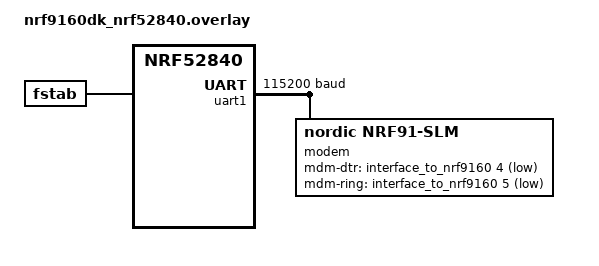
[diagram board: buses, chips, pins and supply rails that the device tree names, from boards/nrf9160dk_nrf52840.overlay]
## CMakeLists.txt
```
# Copyright (c) 2026 Golioth, Inc.
#
# SPDX-License-Identifier: Apache-2.0

cmake_minimum_required(VERSION 3.20.0)

find_package(Zephyr REQUIRED HINTS $ENV{ZEPHYR_BASE})
project(coap_transport)

target_sources(app PRIVATE
  src/main.c
  src/credentials.c
  src/net.c
)

if(CONFIG_EXAMPLE_FW_UPDATE_SHA256_VERIFY)
    target_sources(app PRIVATE src/fw_update_test.c)
elseif(CONFIG_EXAMPLE_FW_UPDATE_FLASH)
    target_sources(app PRIVATE src/fw_update.c)
endif()

if(CONFIG_MODEM)
    target_sources(app PRIVATE src/modem.c)
endif()

if(CONFIG_WIFI)
    target_sources(app PRIVATE src/wifi.c)
endif()

if(NOT CONFIG_EXAMPLE_COAP_CLIENT_DTLS_LOAD_CA_FROM_FILESYSTEM)
    generate_inc_file_for_target(app
        ${CMAKE_CURRENT_SOURCE_DIR}/src/isrgrootx1.der
        ${ZEPHYR_BINARY_DIR}/include/generated/pouch-ca-crt.inc)
endif()
```

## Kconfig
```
# Copyright (c) 2026 Golioth, Inc.
#
# SPDX-License-Identifier: Apache-2.0

source "$ZEPHYR_BASE/Kconfig"

menu "Example: Pouch CoAP Client"

config EXAMPLE_COAP_CLIENT_LOG_LEVEL
    int "CoAP client example log level"
    default 4

config EXAMPLE_COAP_CLIENT_SYNC_PERIOD_S
    int "CoAP client example sync period (s)"
    default 30

config EXAMPLE_CREDENTIALS_DIR
    string "Directory containing credentials"
    default "/lfs1/credentials"
    help
      Directory on mounted file system containing credentials.

config EXAMPLE_COAP_CLIENT_DTLS_CREDENTIALS
    int "Sec Tag to use when storing DTLS credentials"
    default 515765868

config EXAMPLE_COAP_CLIENT_DTLS_LOAD_CA_FROM_FILESYSTEM
    bool "Load the server CA cert from filesystem"
    default n
    help
      Optionally load the CA certificate used for DTLS/mTLS from
      EXAMPLE_CREDENTIALS_DIR/ca.der. If this symbol is not selected,
      ISRG Root X1 is used.

config EXAMPLE_COAP_CLIENT_GW_DEVICE_CRT_FILENAME
    string "Gateway device crt filename in filesystem"
    default "crt.der"
    help
      The filename used to store the mTLS device certificate in the filesystem.
      By default this is the same as the filename used for the Pouch device
      certificate, but may be changed if different credentials are desired.

config EXAMPLE_COAP_CLIENT_GW_DEVICE_KEY_FILENAME
    string "Gateway device key filename in filesystem"
    default "key.der"
    help
      The filename used to store the mTLS device private key in the filesystem.
      By default this is the same as the filename used for the Pouch device key,
      but may be changed if different credentials are desired.

config EXAMPLE_FW_UPDATE_COMPONENT
    string "OTA component to use for firmware update"
    default "coap_client_example"
    help
      Name of component in OTA manifest to use for firmware update.

choice EXAMPLE_FW_UPDATE_MODE
    prompt "Firmware update mode"
    depends on GOLIOTH_OTA
    default EXAMPLE_FW_UPDATE_FLASH

config EXAMPLE_FW_UPDATE_FLASH
    bool "Normal (write to flash)"
    help
        OTA component data is written to flash and mcuboot upgrade is requested.

config EXAMPLE_FW_UPDATE_SHA256_VERIFY
    bool "Download only and verify SHA256"
    help
        OTA component data is hashed with SHA256 instead of written
        to flash. The resulting hash is logged to the console for verification.

endchoice
endmenu # Example: Pouch CoAP Client
```

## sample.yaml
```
sample:
  name: Pouch CoAP Client
common:
  harness: pytest
  timeout: 300
tests:
  pouch.coap_client.sample:
    harness_config:
      pytest_dut_scope: module
      pytest_root:
        - pytest/test_sample.py
      pytest_args:
        - --ota-mode=dummy
    platform_allow:
      - native_sim
      - native_sim/native/64
    extra_configs:
      - CONFIG_FILE_SYSTEM_NSIM_MOUNT=y
      - 'CONFIG_NATIVE_EXTRA_CMDLINE_ARGS="-volume=./creds:/creds"'
      - 'CONFIG_EXAMPLE_CREDENTIALS_DIR="/creds"'
      - CONFIG_EXAMPLE_COAP_CLIENT_SYNC_PERIOD_S=2
      - CONFIG_EXAMPLE_FW_UPDATE_SHA256_VERIFY=y
      - CONFIG_GOLIOTH_OTA_MAX_VERSION_LEN=64
      - 'CONFIG_EXAMPLE_FW_UPDATE_COMPONENT="ci_ota_fw"'
```

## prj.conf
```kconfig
# General config
CONFIG_MAIN_STACK_SIZE=8192
CONFIG_SYSTEM_WORKQUEUE_STACK_SIZE=2048
CONFIG_MAIN_THREAD_PRIORITY=10

# Networking config
CONFIG_NETWORKING=y
CONFIG_NET_IPV4=y
CONFIG_NET_IPV6=n
CONFIG_NET_UDP=y
CONFIG_NET_SHELL=y
CONFIG_DNS_RESOLVER=y
CONFIG_NET_SOCKETS_CONNECT_TIMEOUT=6000
CONFIG_NET_SOCKETS_SOCKOPT_TLS=y
CONFIG_NET_SOCKETS_ENABLE_DTLS=y

# Sockets
CONFIG_NET_SOCKETS=y
CONFIG_ZVFS_POLL_MAX=4
CONFIG_POSIX_API=y

# Network driver config
CONFIG_TEST_RANDOM_GENERATOR=y

# Network buffers
CONFIG_NET_PKT_RX_COUNT=16
CONFIG_NET_PKT_TX_COUNT=8
CONFIG_NET_BUF_DATA_SIZE=512
CONFIG_NET_BUF_RX_COUNT=24
CONFIG_NET_BUF_TX_COUNT=16
CONFIG_NET_CONTEXT_NET_PKT_POOL=y
CONFIG_NET_SOCKETS_TLS_MAX_CONTEXTS=4
CONFIG_NET_SOCKETS_TLS_MAX_CREDENTIALS=4
CONFIG_NET_SOCKETS_TLS_MAX_CLIENT_SESSION_COUNT=2

# Network address config
CONFIG_NET_CONFIG_SETTINGS=y
CONFIG_NET_CONFIG_NEED_IPV4=y
CONFIG_NET_CONFIG_NEED_IPV6=n

# Enable the LittleFS file system
CONFIG_FILE_SYSTEM=y
CONFIG_FILE_SYSTEM_LITTLEFS=y
CONFIG_FILE_SYSTEM_SHELL=y

# Enable flash operations (also required by IMG_MANAGER below)
CONFIG_FLASH=y
CONFIG_FLASH_MAP=y
CONFIG_STREAM_FLASH=y
CONFIG_IMG_MANAGER=y
CONFIG_IMG_ERASE_PROGRESSIVELY=y

# Network debug config
CONFIG_LOG=y
CONFIG_NET_LOG=y
CONFIG_NET_SOCKETS_LOG_LEVEL_DBG=n

# TLS/DTLS configuration
CONFIG_MBEDTLS=y
CONFIG_MBEDTLS_BUILTIN=y
CONFIG_MBEDTLS_ENABLE_HEAP=y
CONFIG_MBEDTLS_HEAP_SIZE=70000
CONFIG_MBEDTLS_SSL_MAX_CONTENT_LEN=4096
CONFIG_MBEDTLS_SSL_PROTO_TLS1_2=y
CONFIG_MBEDTLS_X509_CRT_PARSE_C=y
CONFIG_MBEDTLS_KEY_EXCHANGE_ECDHE_ECDSA_ENABLED=y

# TLS for Golioth (via PSA Crypto)
CONFIG_PSA_WANT_ALG_ECDH=y
CONFIG_PSA_WANT_ALG_ECDSA=y
CONFIG_PSA_WANT_ALG_GCM=y
CONFIG_PSA_WANT_ALG_RSA_PKCS1V15_SIGN=y
CONFIG_PSA_WANT_ALG_SHA_256=y
CONFIG_PSA_WANT_ALG_SHA_384=y
CONFIG_PSA_WANT_ALG_TLS12_PRF=y
CONFIG_PSA_WANT_ECC_SECP_R1_256=y
CONFIG_PSA_WANT_ECC_SECP_R1_384=y
CONFIG_PSA_WANT_KEY_TYPE_AES=y
CONFIG_PSA_WANT_KEY_TYPE_ECC_KEY_PAIR_GENERATE=y
CONFIG_PSA_WANT_KEY_TYPE_ECC_KEY_PAIR_IMPORT=y
CONFIG_PSA_WANT_KEY_TYPE_ECC_KEY_PAIR_EXPORT=y
CONFIG_PSA_WANT_KEY_TYPE_ECC_PUBLIC_KEY=y
CONFIG_PSA_WANT_KEY_TYPE_RSA_PUBLIC_KEY=y
CONFIG_PSA_WANT_KEY_TYPE_RSA_KEY_PAIR_IMPORT=y

# Configure Pouch
CONFIG_POUCH=y
CONFIG_POUCH_TRANSPORT_COAP_CLIENT=y
CONFIG_GOLIOTH=y
CONFIG_GOLIOTH_SETTINGS=y
CONFIG_GOLIOTH_OTA=y

# Enable mcumgr
CONFIG_ZCBOR=y
CONFIG_MCUMGR=y

# Enable the shell mcumgr transport. This allows SMP messages to pass
# through the shell to the mgmt subsystem.
CONFIG_BASE64=y
CONFIG_CRC=y
CONFIG_MCUMGR_TRANSPORT_SHELL=y

# Enable mcumgr params to allow smpmgr to query device for its MTU
CONFIG_MCUMGR_GRP_OS=y
CONFIG_MCUMGR_GRP_OS_MCUMGR_PARAMS=y

# Enable file system commands
CONFIG_MCUMGR_GRP_FS=y
CONFIG_MCUMGR_GRP_FS_FILE_ACCESS_HOOK=y
CONFIG_MCUMGR_MGMT_NOTIFICATION_HOOKS=y
```

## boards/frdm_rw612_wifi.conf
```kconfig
# Extra configuration file for using NXP frdm_rw612 with WiFi instead of Ethernet
#   To use, add as extra conf file:
#   west build -p -b frdm_rw612 --sysbuild <path_to>/examples/zephyr/coap_client -- -DEXTRA_CONF_FILE=boards/frdm_rw612_wifi.conf
#
CONFIG_WIFI=y
CONFIG_WIFI_NXP=y

# Store credentials in settings, on filesystem
CONFIG_SETTINGS=y
CONFIG_SETTINGS_FILE_PATH="/lfs1/settings"

# Ensure that filesystem initializes before settings
CONFIG_FILE_SYSTEM_INIT_PRIORITY=89

# Runtime provisioning for WiFi credentials
CONFIG_WIFI_CREDENTIALS=y
CONFIG_NET_L2_WIFI_SHELL=y
CONFIG_SHELL_STACK_SIZE=2560

# Wifi Configuration
CONFIG_NET_L2_ETHERNET=y
CONFIG_NET_PKT_RX_COUNT=36
CONFIG_NET_PKT_TX_COUNT=36
CONFIG_NET_BUF_RX_COUNT=40
CONFIG_NET_BUF_TX_COUNT=40
CONFIG_NET_BUF_DATA_SIZE=1744

# Handle WiFi Networks with Multiple DNS Servers
CONFIG_DNS_RESOLVER_MAX_SERVERS=3

# Disable Ethernet
CONFIG_ETH_NXP_ENET=n
CONFIG_PHY_MICROCHIP_KSZ8081=n
CONFIG_NET_CONFIG_AUTO_INIT=n
CONFIG_NET_CONFIG_NEED_IPV4=n
```

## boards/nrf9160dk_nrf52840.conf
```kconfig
# PPP
CONFIG_NET_L2_PPP=y
CONFIG_NET_L2_PPP_OPTION_DNS_USE=y

# Network management
CONFIG_NET_MGMT=y
CONFIG_NET_MGMT_EVENT=y
CONFIG_NET_CONNECTION_MANAGER=y

# Modem driver
CONFIG_MODEM=y
CONFIG_MODEM_CELLULAR=y

# Align with the Serial LTE Modem (SLM) application.
CONFIG_MODEM_CELLULAR_UART_BUFFER_SIZES=6000

# CMUX configuration
# MTU must accommodate PPP frames (up to 1500 bytes for IP packets)
CONFIG_MODEM_CMUX_MTU=1500
CONFIG_MODEM_CMUX_WORK_BUFFER_SIZE_EXTRA=1024

# NB-IoT latency can reach 10s; use greater timeouts
CONFIG_NET_SOCKETS_DNS_TIMEOUT=15000
CONFIG_NET_SOCKETS_CONNECT_TIMEOUT=15000
CONFIG_COAP_INIT_ACK_TIMEOUT_MS=15000
CONFIG_NET_SOCKETS_DTLS_TIMEOUT=15000
```

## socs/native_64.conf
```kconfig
# Use offloaded sockets using host BSD sockets
CONFIG_ETH_DRIVER=n
CONFIG_ETH_NATIVE_POSIX=n
CONFIG_NET_DRIVERS=y
CONFIG_NET_SOCKETS=y
CONFIG_NET_SOCKETS_OFFLOAD=y
CONFIG_NET_NATIVE_OFFLOADED_SOCKETS=y

# Use embedded libc to use Zephyr's eventfd instead of host eventfd
CONFIG_PICOLIBC=y

# Static networking
CONFIG_NET_CONFIG_LOG_LEVEL_DBG=y
CONFIG_NET_CONFIG_SETTINGS=y
CONFIG_NET_CONFIG_NEED_IPV4=y
CONFIG_NET_CONFIG_MY_IPV4_ADDR="192.0.2.1"
```

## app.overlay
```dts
/*
 * Copyright (c) 2026 Golioth, Inc.
 *
 * SPDX-License-Identifier: Apache-2.0
 */

/ {
	fstab {
		compatible = "zephyr,fstab";
		lfs1: lfs1 {
			compatible = "zephyr,fstab,littlefs";
			mount-point = "/lfs1";
			partition = <&storage_partition>;
			automount;
			read-size = <16>;
			prog-size = <16>;
			cache-size = <64>;
			lookahead-size = <32>;
			block-cycles = <512>;
		};
	};
};
```

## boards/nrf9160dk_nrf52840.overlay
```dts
#include <nrf52840/nrf9160dk_uart1_on_if0_3.dtsi>

/ {
	aliases {
		modem = &modem;
	};

	fstab {
		compatible = "zephyr,fstab";
		lfs1: lfs1 {
			compatible = "zephyr,fstab,littlefs";
			mount-point = "/lfs1";
			partition = <&storage_partition>;
			automount;
			read-size = <16>;
			prog-size = <16>;
			cache-size = <64>;
			lookahead-size = <32>;
			block-cycles = <512>;
		};
	};
};

&uart1 {
	current-speed = <115200>;
	hw-flow-control;

	modem: modem {
		compatible = "nordic,nrf91-slm";
		status = "okay";
		autostarts;
		mdm-dtr-gpios = <&interface_to_nrf9160 4 GPIO_ACTIVE_LOW>;
		mdm-ring-gpios = <&interface_to_nrf9160 5 (GPIO_ACTIVE_LOW | GPIO_PULL_DOWN)>;
	};
};
```

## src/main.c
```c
/*
 * Copyright (c) 2026 Golioth, Inc.
 *
 * SPDX-License-Identifier: Apache-2.0
 */

#include <zephyr/logging/log.h>
LOG_MODULE_REGISTER(coap_transport, CONFIG_EXAMPLE_COAP_CLIENT_LOG_LEVEL);

#include "credentials.h"
#include "net.h"

#include <zephyr/drivers/gpio.h>
#include <zephyr/net/socket.h>
#include <zephyr/net/tls_credentials.h>

#include <pouch/pouch.h>
#include <pouch/uplink.h>
#include <pouch/transport/certificate.h>
#include <pouch/transport/coap/client.h>

#include <golioth/settings_callbacks.h>

static const struct gpio_dt_spec led = GPIO_DT_SPEC_GET_OR(DT_ALIAS(led0), gpios, {});

static void do_uplink(void)
{
    const char *payload = "{\"temp\":22}";
    pouch_uplink_entry_write(".s/sensor",
                             POUCH_CONTENT_TYPE_JSON,
                             payload,
                             strlen(payload),
                             POUCH_FOREVER);
}
POUCH_UPLINK_HANDLER(do_uplink);

static int led_setting_cb(bool new_value)
{
    LOG_INF("Received LED setting: %d", (int) new_value);

    if (DT_HAS_ALIAS(led0))
    {
        gpio_pin_set_dt(&led, new_value ? 1 : 0);
    }

    return 0;
}

GOLIOTH_SETTINGS_HANDLER(LED, led_setting_cb);

static void setup_led(void)
{
    if (!DT_HAS_ALIAS(led0))
    {
        return;
    }

    int err = gpio_pin_configure_dt(&led, GPIO_OUTPUT_ACTIVE);
    if (err < 0)
    {
        LOG_WRN("Could not initialize LED");
    }
}

int main(void)
{
    struct pouch_config config = {0};

    /* Load certificates for Pouch */
    int err = load_certificate(&config.certificate);
    if (err)
    {
        LOG_ERR("Failed to load certificate (err %d)", err);
        return err;
    }

    config.private_key = load_private_key();
    if (config.private_key == PSA_KEY_ID_NULL)
    {
        LOG_ERR("Failed to load private key");
        return -EIO;
    }

    LOG_INF("Credentials loaded");

    err = pouch_init(&config);
    if (err)
    {
        LOG_ERR("Pouch init failed (err %d)", err);
        return err;
    }

    /* Load certificates for DTLS transport */
    err = load_coap_server_ca(CONFIG_EXAMPLE_COAP_CLIENT_DTLS_CREDENTIALS);
    if (err)
    {
        LOG_ERR("Failed to load server CA certificate (err %d)", err);
        return err;
    }

    err = load_coap_gw_device_crt(CONFIG_EXAMPLE_COAP_CLIENT_DTLS_CREDENTIALS);
    if (err)
    {
        LOG_ERR("Failed to load device certificate (err %d)", err);
        return err;
    }

    err = load_coap_gw_device_key(CONFIG_EXAMPLE_COAP_CLIENT_DTLS_CREDENTIALS);
    if (err)
    {
        LOG_ERR("Failed to load device key (err %d)", err);
        return err;
    }

    setup_led();

    net_connect();

    err = pouch_coap_client_init(CONFIG_EXAMPLE_COAP_CLIENT_DTLS_CREDENTIALS);
    if (err)
    {
        LOG_ERR("Failed to initialize CoAP client transport");
        return err;
    }

    while (1)
    {
        /* Sync Pouch uplink and downlink */
        err = pouch_coap_client_sync();
        if (err)
        {
            LOG_WRN("Pouch sync failed (err %d)", err);
        }

        k_sleep(K_SECONDS(CONFIG_EXAMPLE_COAP_CLIENT_SYNC_PERIOD_S));
    }

    return 0;
}
```

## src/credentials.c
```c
/*
 * Copyright (c) 2026 Golioth, Inc.
 *
 * SPDX-License-Identifier: Apache-2.0
 */

#include <stdlib.h>

#include <zephyr/fs/fs.h>
#include <zephyr/init.h>
#include <zephyr/net/tls_credentials.h>

#include <mbedtls/pk.h>
#include <mbedtls/psa_util.h>

#include <pouch/pouch.h>

#include <zephyr/logging/log.h>
LOG_MODULE_REGISTER(credentials);

#define CERT_DIR CONFIG_EXAMPLE_CREDENTIALS_DIR
#define COAP_CA_FILE CERT_DIR "/ca.der"
#define GW_CERT_FILE CERT_DIR "/" CONFIG_EXAMPLE_COAP_CLIENT_GW_DEVICE_CRT_FILENAME
#define GW_KEY_FILE CERT_DIR "/" CONFIG_EXAMPLE_COAP_CLIENT_GW_DEVICE_KEY_FILENAME
#define CERT_FILE CERT_DIR "/crt.der"
#define KEY_FILE CERT_DIR "/key.der"

struct mutual_dtls_pki
{
    uint8_t *ca_cert;
    ssize_t ca_cert_len;
    uint8_t *gw_crt;
    ssize_t gw_crt_len;
    uint8_t *gw_key;
    ssize_t gw_key_len;
} _m_dtls_ctx;

#ifndef CONFIG_EXAMPLE_COAP_CLIENT_DTLS_LOAD_CA_FROM_FILESYSTEM
static const uint8_t dtls_ca_crt[] = {
#include "pouch-ca-crt.inc"
};
#endif

/** Load the raw private key data into PSA */
static psa_key_id_t import_raw_pk(const uint8_t *private_key, size_t size)
{
    mbedtls_pk_context pk;
    mbedtls_pk_init(&pk);
    int err = mbedtls_pk_parse_key(&pk, private_key, size, NULL, 0);
    if (err)
    {
        LOG_ERR("Failed to parse key: -0x%x", -err);
        return PSA_KEY_ID_NULL;
    }

    psa_key_attributes_t attrs = PSA_KEY_ATTRIBUTES_INIT;

    psa_set_key_algorithm(&attrs, PSA_ALG_ECDH);
    psa_set_key_type(&attrs, PSA_KEY_TYPE_ECC_KEY_PAIR(PSA_ECC_FAMILY_SECP_R1));
    psa_set_key_usage_flags(&attrs, PSA_KEY_USAGE_DERIVE);

    psa_key_id_t key_id;
    err = mbedtls_pk_import_into_psa(&pk, &attrs, &key_id);
    if (err)
    {
        LOG_ERR("Failed to import private key: -0x%x", -err);
        return PSA_KEY_ID_NULL;
    }

    return key_id;
}

static int ensure_credentials_dir(void)
{
    struct fs_dirent dirent;

    int err = fs_stat(CERT_DIR, &dirent);
    if (err == -ENOENT)
    {
        err = fs_mkdir(CERT_DIR);
    }

    if (err)
    {
        LOG_ERR("Failed to create credentials dir: %d", err);
    }

    return err;
}

/* Run after filesystem mounts, before SMP provisioning */
SYS_INIT(ensure_credentials_dir, APPLICATION, 85);

static ssize_t get_file_size(const char *path)
{
    struct fs_dirent dirent;

    int err = fs_stat(path, &dirent);

    if (err < 0)
    {
        return err;
    }
    if (dirent.type != FS_DIR_ENTRY_FILE)
    {
        return -EISDIR;
    }

    return dirent.size;
}

static ssize_t read_file(const char *path, uint8_t **out)
{
    ssize_t size = get_file_size(path);
    if (size <= 0)
    {
        return size;
    }

    uint8_t *buf = malloc(size);
    if (buf == NULL)
    {
        return -ENOMEM;
    }

    struct fs_file_t file;
    fs_file_t_init(&file);

    int err = fs_open(&file, path, FS_O_READ);
    if (err)
    {
        LOG_ERR("Could not open %s, err: %d", path, err);
        free(buf);
        return err;
    }

    size = fs_read(&file, buf, size);
    if (size < 0)
    {
        LOG_ERR("Could not read %s, err: %d", path, size);
        free(buf);
        goto finish;
    }

    LOG_DBG("Read %d bytes from %s", size, path);

    *out = buf;

finish:
    fs_close(&file);
    return size;
}

psa_key_id_t load_private_key(void)
{
    uint8_t *buf;
    ssize_t size = read_file(KEY_FILE, &buf);
    if (size < 0)
    {
        return PSA_KEY_ID_NULL;
    }

    psa_key_id_t key_id = import_raw_pk(buf, size);
    free(buf);
    return key_id;
}

int load_certificate(struct pouch_cert *cert)
{
    uint8_t *buf;
    ssize_t size = read_file(CERT_FILE, &buf);
    if (size < 0)
    {
        return size;
    }

    cert->buffer = buf;
    cert->size = size;

    LOG_DBG("Read certificate (%d bytes)", size);

    return 0;
}

void free_certificate(struct pouch_cert *cert)
{
    free((void *) cert->buffer);
}

static ssize_t load_file_to_tls(const char *filename,
                                sec_tag_t sec_tag,
                                enum tls_credential_type type,
                                uint8_t **buf)
{
    ssize_t size = read_file(filename, buf);
    if (size < 0)
    {
        return size;
    }

    int err = tls_credential_add(sec_tag, type, *buf, size);
    return err;
}

int load_coap_server_ca(sec_tag_t sec_tag)
{
#ifdef CONFIG_EXAMPLE_COAP_CLIENT_DTLS_LOAD_CA_FROM_FILESYSTEM
    if (NULL != _m_dtls_ctx.ca_cert)
    {
        LOG_ERR("Free existing CA cert before loading");
        return -EEXIST;
    }

    _m_dtls_ctx.ca_cert_len = load_file_to_tls(COAP_CA_FILE,
                                               sec_tag,
                                               TLS_CREDENTIAL_CA_CERTIFICATE,
                                               &_m_dtls_ctx.ca_cert);
    return _m_dtls_ctx.ca_cert_len;
#else
    return tls_credential_add(sec_tag,
                              TLS_CREDENTIAL_CA_CERTIFICATE,
                              dtls_ca_crt,
                              sizeof(dtls_ca_crt));
#endif
}

int load_coap_gw_device_crt(sec_tag_t sec_tag)
{
    if (NULL != _m_dtls_ctx.gw_crt)
    {
        LOG_ERR("Free existing gateway cert before loading");
        return -EEXIST;
    }

    _m_dtls_ctx.gw_crt_len = load_file_to_tls(GW_CERT_FILE,
                                              sec_tag,
                                              TLS_CREDENTIAL_PUBLIC_CERTIFICATE,
                                              &_m_dtls_ctx.gw_crt);
    return _m_dtls_ctx.gw_crt_len;
}

int load_coap_gw_device_key(sec_tag_t sec_tag)
{
    if (NULL != _m_dtls_ctx.gw_key)
    {
        LOG_ERR("Free existing gateway key before loading");
        return -EEXIST;
    }

    _m_dtls_ctx.gw_key_len =
        load_file_to_tls(GW_KEY_FILE, sec_tag, TLS_CREDENTIAL_PRIVATE_KEY, &_m_dtls_ctx.gw_key);
    return _m_dtls_ctx.gw_key_len;
}

void free_coap_certs(void)
{
#ifdef CONFIG_EXAMPLE_COAP_CLIENT_DTLS_LOAD_CA_FROM_FILESYSTEM
    free(_m_dtls_ctx.ca_cert);
#endif
    _m_dtls_ctx.ca_cert = NULL;
    _m_dtls_ctx.ca_cert_len = 0;

    free(_m_dtls_ctx.gw_crt);
    _m_dtls_ctx.gw_crt = NULL;
    _m_dtls_ctx.gw_crt_len = 0;

    free(_m_dtls_ctx.gw_key);
    _m_dtls_ctx.gw_key = NULL;
    _m_dtls_ctx.gw_key_len = 0;
}
```

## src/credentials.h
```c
/*
 * Copyright (c) 2026 Golioth, Inc.
 *
 * SPDX-License-Identifier: Apache-2.0
 */
#pragma once

#include <psa/crypto.h>
#include <pouch/types.h>
#include <zephyr/net/tls_credentials.h>

/**
 * Import the device private key into PSA
 *
 * @returns The assigned PSA key ID for the device's private key, or @c PSA_KEY_ID_NULL if the
 * private key could not be loaded.
 */
psa_key_id_t load_private_key(void);

/**
 * Load the device certificate.
 */
int load_certificate(struct pouch_cert *cert);

/** Free the device certificate. */
void free_certificate(struct pouch_cert *cert);

/**
 * Load server CA certificate needed for DTLS connection.
 */
int load_coap_server_ca(sec_tag_t sec_tag);

/**
 * Load Gateway device certificate needed for DTLS mTLS connection.
 */
int load_coap_gw_device_crt(sec_tag_t sec_tag);

/**
 * Load Gateway device private key needed for DTLS mTLS connection.
 */
int load_coap_gw_device_key(sec_tag_t sec_tag);

/**
 * Free DTLS credentials loaded from the filesystem.
 */
void free_coap_certs(void);
```

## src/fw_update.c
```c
/*
 * Copyright (c) 2026 Golioth, Inc.
 *
 * SPDX-License-Identifier: Apache-2.0
 */

#include <zephyr/logging/log.h>
LOG_MODULE_REGISTER(fw_update);

#include <zephyr/kernel.h>
#include <zephyr/dfu/flash_img.h>
#include <zephyr/dfu/mcuboot.h>
#include <zephyr/logging/log_ctrl.h>
#include <zephyr/storage/flash_map.h>
#include <zephyr/sys/reboot.h>

#include <golioth/ota.h>

#include <app_version.h>

static struct flash_img_context flash_context;

static void ota_fw_receive(const void *data, size_t offset, size_t len, bool is_last)
{
    LOG_DBG("Received %d bytes at offset %d", len, offset);

    int err = 0;

    if (0 == offset)
    {
        err = flash_img_init(&flash_context);
        if (err)
        {
            LOG_ERR("Failed to init flash write");
            return;
        }
    }

    err = flash_img_buffered_write(&flash_context, data, len, is_last);
    if (err)
    {
        LOG_ERR("Failed to write to flash: %d", err);
        return;
    }

    if (is_last)
    {
        err = boot_request_upgrade(BOOT_UPGRADE_PERMANENT);
        if (err)
        {
            LOG_ERR("Failed to request upgrade");
            return;
        }

        LOG_INF("Rebooting to apply upgrade");

#if IS_ENABLED(CONFIG_LOG)
        while (log_process())
        {
        }
#endif

        k_sleep(K_SECONDS(3));

        sys_reboot(SYS_REBOOT_WARM);
    }
}

static void ota_manifest_receive(const struct golioth_ota_manifest_component *components,
                                 size_t num_components)
{
    for (int i = 0; i < num_components; i++)
    {
        LOG_DBG("Target: %s@%s, %d bytes",
                components[i].name,
                components[i].target,
                components[i].size);
        LOG_HEXDUMP_DBG(components[i].target_hash,
                        GOLIOTH_OTA_COMPONENT_HASH_BIN_LEN,
                        "Target hash:");
        if (0 != strcmp(components[i].current, components[i].target))
        {
            golioth_ota_mark_for_download(components[i].name);
        }
    }
}

GOLIOTH_OTA_COMPONENT(fw, CONFIG_EXAMPLE_FW_UPDATE_COMPONENT, APP_VERSION_STRING, ota_fw_receive);
GOLIOTH_OTA_MANIFEST_HANDLER(ota_manifest_receive);
```

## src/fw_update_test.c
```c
/*
 * Copyright (c) 2026 Golioth, Inc.
 *
 * SPDX-License-Identifier: Apache-2.0
 */

#include <zephyr/logging/log.h>
LOG_MODULE_REGISTER(fw_update_test);

#include <stdio.h>
#include <zephyr/kernel.h>
#include <zephyr/app_version.h>
#include <psa/crypto.h>

#include <pouch/golioth/ota.h>

static void log_sha256(const char *name, const uint8_t hash[32])
{
    char hex[65];

    for (int i = 0; i < 32; i++)
    {
        snprintf(&hex[i * 2], 3, "%02x", hash[i]);
    }

    LOG_INF("OTA %s SHA256: %s", name, hex);
}

static psa_hash_operation_t hash_op;
static size_t total_received;

static void ota_fw_receive(const void *data, size_t offset, size_t len, bool is_last)
{
    psa_status_t status;

    if (0 == offset)
    {
        hash_op = psa_hash_operation_init();
        status = psa_hash_setup(&hash_op, PSA_ALG_SHA_256);
        if (PSA_SUCCESS != status)
        {
            LOG_ERR("Failed to init SHA256: %d", status);
            return;
        }
        total_received = 0;
    }

    status = psa_hash_update(&hash_op, data, len);
    if (PSA_SUCCESS != status)
    {
        LOG_ERR("Failed to update SHA256: %d", status);
        return;
    }

    total_received += len;

    if (is_last)
    {
        uint8_t hash[32];
        size_t hash_len;

        status = psa_hash_finish(&hash_op, hash, sizeof(hash), &hash_len);
        if (PSA_SUCCESS != status)
        {
            LOG_ERR("Failed to finish SHA256: %d", status);
            return;
        }

        LOG_INF("OTA download complete: %zu bytes", total_received);
        log_sha256("computed", hash);

        golioth_ota_mark_idle(CONFIG_EXAMPLE_FW_UPDATE_COMPONENT);
    }
}

static void ota_manifest_receive(const struct golioth_ota_manifest_component *components,
                                 size_t num_components)
{
    for (int i = 0; i < num_components; i++)
    {
        LOG_DBG("OTA manifest: %s current=%s target=%s size=%d",
                components[i].name,
                components[i].current,
                components[i].target,
                components[i].size);

        log_sha256("manifest", components[i].target_hash);

        if (0 != strcmp(components[i].current, components[i].target))
        {
            golioth_ota_mark_for_download(components[i].name);
        }
    }
}

GOLIOTH_OTA_COMPONENT(fw, CONFIG_EXAMPLE_FW_UPDATE_COMPONENT, APP_VERSION_STRING, ota_fw_receive);
GOLIOTH_OTA_MANIFEST_HANDLER(ota_manifest_receive);
```

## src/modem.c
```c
/*
 * Copyright (c) 2026 Golioth, Inc.
 *
 * SPDX-License-Identifier: Apache-2.0
 */

#include <zephyr/logging/log.h>
LOG_MODULE_REGISTER(modem);

#include <zephyr/net/net_if.h>
#include <zephyr/net/net_mgmt.h>

#include "modem.h"

struct net_wait_data
{
    struct k_sem sem;
    struct net_mgmt_event_callback cb;
};

static void event_cb_handler(struct net_mgmt_event_callback *cb,
                             uint64_t mgmt_event,
                             struct net_if *iface)
{
    struct net_wait_data *wait = CONTAINER_OF(cb, struct net_wait_data, cb);

    if (mgmt_event == cb->event_mask)
    {
        k_sem_give(&wait->sem);
    }
}

static void wait_for_net_event(struct net_if *iface, uint64_t event)
{
    struct net_wait_data wait;

    wait.cb.handler = event_cb_handler;
    wait.cb.event_mask = event;

    k_sem_init(&wait.sem, 0, 1);
    net_mgmt_add_event_callback(&wait.cb);

    k_sem_take(&wait.sem, K_FOREVER);

    net_mgmt_del_event_callback(&wait.cb);
}

void modem_connect(void)
{
    struct net_if *iface = net_if_get_default();

    if (!net_if_is_up(iface))
    {
        LOG_INF("Bringing up network interface (%p)", (void *) iface);
        int ret = net_if_up(iface);
        if ((ret < 0) && (ret != -EALREADY))
        {
            LOG_ERR("Failed to bring up network interface: %d", ret);
            return;
        }
    }

    wait_for_net_event(iface, NET_EVENT_IPV4_ADDR_ADD);
}
```

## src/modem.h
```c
/*
 * Copyright (c) 2026 Golioth, Inc.
 *
 * SPDX-License-Identifier: Apache-2.0
 */

#pragma once

void modem_connect(void);
```

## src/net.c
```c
/*
 * Copyright (c) 2026 Golioth, Inc.
 *
 * SPDX-License-Identifier: Apache-2.0
 */

#include <zephyr/net/net_if.h>

#include "net.h"

#include "modem.h"
#include "wifi.h"

void net_connect(void)
{
    if (IS_ENABLED(CONFIG_WIFI))
    {
        wifi_connect();
    }
    else if (IS_ENABLED(CONFIG_MODEM))
    {
        modem_connect();
    }
}
```

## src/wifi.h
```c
/*
 * Copyright (c) 2026 Golioth, Inc.
 *
 * SPDX-License-Identifier: Apache-2.0
 */

#pragma once

void wifi_connect(void);
```
